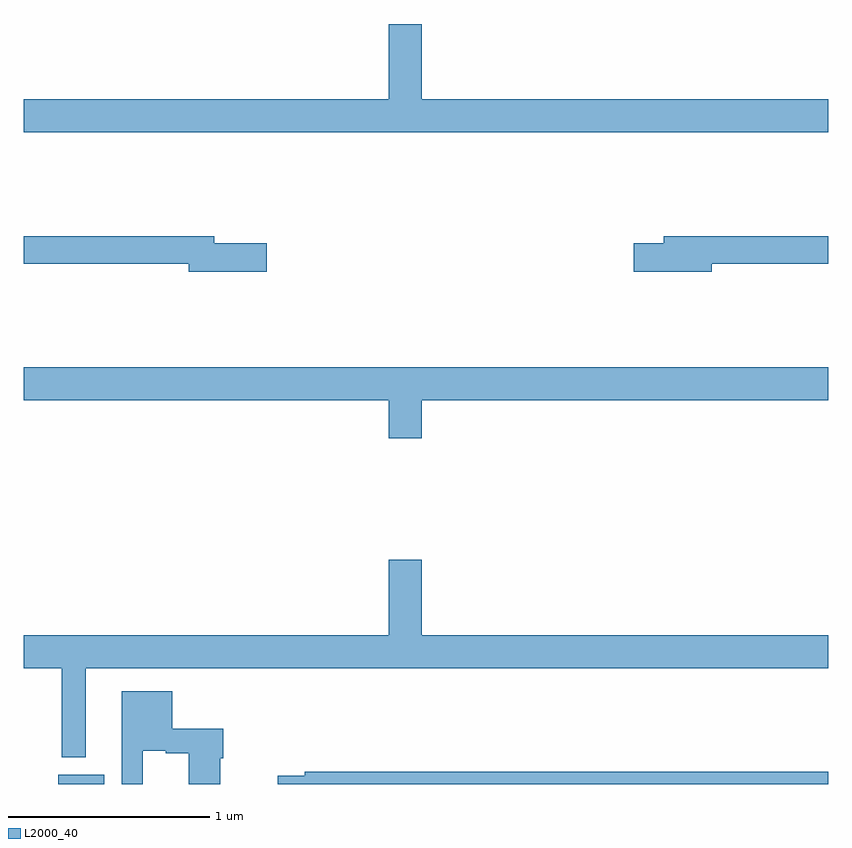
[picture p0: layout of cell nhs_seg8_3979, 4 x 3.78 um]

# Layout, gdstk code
import gdstk
lib = gdstk.Library(unit=1e-6, precision=1e-09)
def R(c, l, rs):  # rectangles x0, y0, x1, y1
    for r in rs: c.add(gdstk.rectangle(r[:2], r[2:], *l))
def P(c, l, *ps):  # polygons
    for p in ps: c.add(gdstk.Polygon(p, *l))
L2000_40 = (2000, 40)

nhs_seg8_3979 = lib.new_cell('nhs_seg8_3979')
R(nhs_seg8_3979, L2000_40, [(355.172,1139.9,355.399,1139.947)])
P(nhs_seg8_3979, L2000_40, [(359,1143.304),(356.98,1143.304),(356.98,1143.679),(356.816,1143.679),(356.816,1143.304),(355,1143.304),(355,1143.14),(359,1143.14)],
  [(358.42,1142.488),(359,1142.488),(359,1142.624),(358.181,1142.624),(358.181,1142.588),(358.032,1142.588),(358.032,1142.446),(358.42,1142.446)],
  [(356.209,1142.588),(355.948,1142.588),(355.948,1142.624),(355,1142.624),(355,1142.488),(355.82,1142.488),(355.82,1142.446),(356.209,1142.446)],
  [(356.98,1141.808),(359,1141.808),(359,1141.972),(355,1141.972),(355,1141.808),(356.816,1141.808),(356.816,1141.62),(356.98,1141.62)],
  [(355.309,1140.476),(359,1140.476),(359,1140.64),(356.98,1140.64),(356.98,1141.015),(356.816,1141.015),(356.816,1140.64),(355,1140.64),(355,1140.476),(355.188,1140.476),(355.188,1140.032),(355.309,1140.032)],
  [(355.591,1140.065),(355.706,1140.065),(355.706,1140.053),(355.82,1140.053),(355.82,1139.9),(355.978,1139.9),(355.978,1140.029),(355.991,1140.029),(355.991,1140.175),(355.738,1140.175),(355.738,1140.361),(355.487,1140.361),(355.487,1139.9),(355.591,1139.9)],
  [(359,1139.96),(356.398,1139.96),(356.398,1139.94),(356.264,1139.94),(356.264,1139.9),(359,1139.9)])

lib.write_gds('nhs_seg8_3979.gds')
